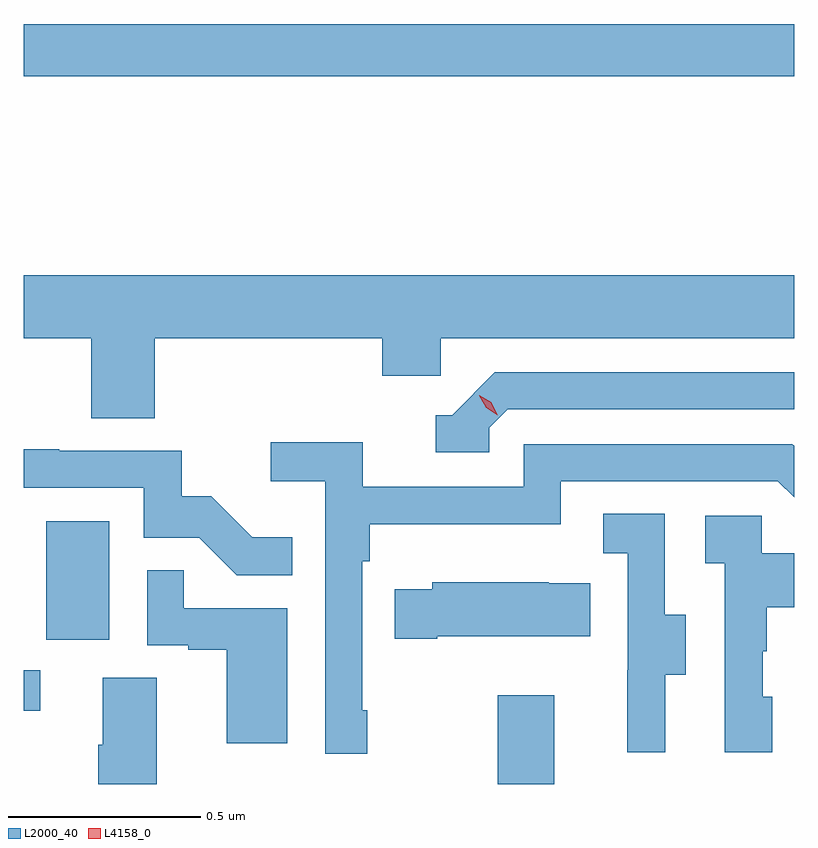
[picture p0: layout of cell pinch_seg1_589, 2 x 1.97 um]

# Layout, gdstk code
import gdstk
lib = gdstk.Library(unit=1e-6, precision=1e-09)
def R(c, l, rs):  # rectangles x0, y0, x1, y1
    for r in rs: c.add(gdstk.rectangle(r[:2], r[2:], *l))
def P(c, l, *ps):  # polygons
    for p in ps: c.add(gdstk.Polygon(p, *l))
L2000_40 = (2000, 40)
L4158_0 = (4158, 0)

pinch_seg1_589 = lib.new_cell('pinch_seg1_589')
R(pinch_seg1_589, L2000_40, [(1047.166,521.27,1047.313,521.5), (1045.936,521.46,1045.978,521.565), (1045.994,521.645,1046.158,521.953), (1045.936,523.108,1047.936,523.244)])
P(pinch_seg1_589, L2000_40, [(1046.276,522.428),(1046.867,522.428),(1046.867,522.33),(1047.018,522.33),(1047.018,522.428),(1047.936,522.428),(1047.936,522.592),(1045.936,522.592),(1045.936,522.428),(1046.111,522.428),(1046.111,522.22),(1046.276,522.22)],
  [(1047.144,522.195),(1047.192,522.243),(1047.936,522.243),(1047.936,522.339),(1047.159,522.339),(1047.048,522.228),(1047.005,522.228),(1047.005,522.132),(1047.144,522.132)],
  [(1046.827,521.461),(1046.814,521.461),(1046.814,521.849),(1046.834,521.849),(1046.834,521.945),(1047.33,521.945),(1047.33,522.057),(1047.894,522.057),(1047.936,522.015),(1047.936,522.148),(1047.931,522.153),(1047.234,522.153),(1047.234,522.042),(1046.816,522.042),(1046.816,522.158),(1046.577,522.158),(1046.577,522.056),(1046.718,522.056),(1046.718,521.349),(1046.827,521.349)],
  [(1046.633,521.911),(1046.529,521.911),(1046.422,522.018),(1046.346,522.018),(1046.346,522.135),(1046.027,522.135),(1046.027,522.14),(1045.936,522.14),(1045.936,522.039),(1046.247,522.039),(1046.247,521.91),(1046.391,521.91),(1046.489,521.812),(1046.633,521.812)],
  [(1047.601,521.554),(1047.655,521.554),(1047.655,521.709),(1047.6,521.709),(1047.6,521.972),(1047.441,521.972),(1047.441,521.869),(1047.504,521.869),(1047.504,521.565),(1047.503,521.565),(1047.503,521.352),(1047.601,521.352)],
  [(1047.88,521.496),(1047.855,521.496),(1047.855,521.615),(1047.865,521.615),(1047.865,521.729),(1047.936,521.729),(1047.936,521.869),(1047.852,521.869),(1047.852,521.967),(1047.705,521.967),(1047.705,521.843),(1047.756,521.843),(1047.756,521.352),(1047.88,521.352)],
  [(1046.62,521.727),(1046.351,521.727),(1046.351,521.825),(1046.256,521.825),(1046.256,521.631),(1046.363,521.631),(1046.363,521.619),(1046.462,521.619),(1046.462,521.376),(1046.62,521.376)],
  [(1047.01,521.654),(1047.407,521.654),(1047.407,521.791),(1047.299,521.791),(1047.299,521.794),(1046.997,521.794),(1046.997,521.776),(1046.899,521.776),(1046.899,521.647),(1047.01,521.647)],
  [(1046.281,521.546),(1046.141,521.546),(1046.141,521.372),(1046.129,521.372),(1046.129,521.27),(1046.281,521.27)])
P(pinch_seg1_589, L4158_0, [(1047.167,522.228),(1047.136,522.247),(1047.119,522.279),(1047.119,522.28),(1047.119,522.28),(1047.15,522.261),(1047.167,522.228),(1047.167,522.228)])

lib.write_gds('pinch_seg1_589.gds')
